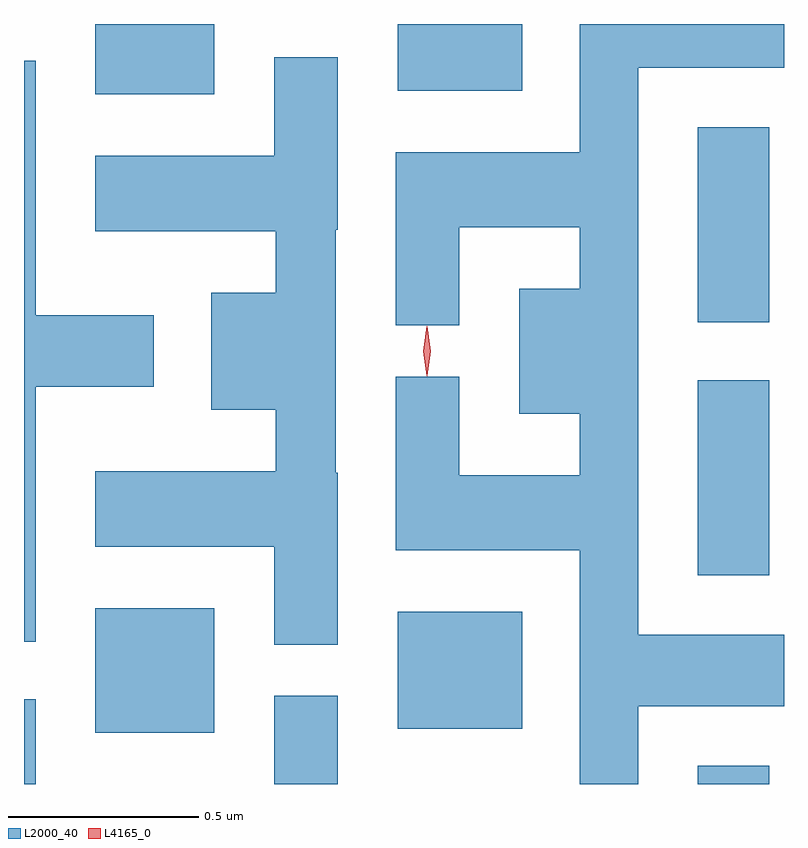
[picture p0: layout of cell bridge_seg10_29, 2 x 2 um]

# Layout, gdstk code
import gdstk
lib = gdstk.Library(unit=1e-6, precision=1e-09)
def R(c, l, rs):  # rectangles x0, y0, x1, y1
    for r in rs: c.add(gdstk.rectangle(r[:2], r[2:], *l))
def P(c, l, *ps):  # polygons
    for p in ps: c.add(gdstk.Polygon(p, *l))
L2000_40 = (2000, 40)
L4165_0 = (4165, 0)

bridge_seg10_29 = lib.new_cell('bridge_seg10_29')
R(bridge_seg10_29, L2000_40, [(1786.603,2176.431,1786.634,2176.654), (1787.261,2176.431,1787.429,2176.663), (1788.376,2176.431,1788.564,2176.479), (1786.791,2176.566,1787.104,2176.894), (1787.586,2176.576,1787.914,2176.884), (1788.376,2176.981,1788.564,2177.494), (1788.376,2177.646,1788.564,2178.159), (1786.791,2178.246,1787.104,2178.431), (1787.586,2178.256,1787.914,2178.431)])
P(bridge_seg10_29, L2000_40, [(1788.219,2176.636),(1788.603,2176.636),(1788.603,2176.824),(1788.219,2176.824),(1788.219,2178.316),(1788.603,2178.316),(1788.603,2178.431),(1788.066,2178.431),(1788.066,2178.094),(1787.581,2178.094),(1787.581,2177.638),(1787.749,2177.638),(1787.749,2177.896),(1788.066,2177.896),(1788.066,2177.734),(1787.906,2177.734),(1787.906,2177.406),(1788.066,2177.406),(1788.066,2177.244),(1787.749,2177.244),(1787.749,2177.503),(1787.581,2177.503),(1787.581,2177.046),(1788.066,2177.046),(1788.066,2176.431),(1788.219,2176.431)],
  [(1787.429,2177.25),(1787.424,2177.25),(1787.424,2177.89),(1787.429,2177.89),(1787.429,2178.343),(1787.261,2178.343),(1787.261,2178.084),(1786.791,2178.084),(1786.791,2177.886),(1787.266,2177.886),(1787.266,2177.724),(1787.096,2177.724),(1787.096,2177.416),(1787.266,2177.416),(1787.266,2177.254),(1786.791,2177.254),(1786.791,2177.056),(1787.261,2177.056),(1787.261,2176.798),(1787.429,2176.798)],
  [(1786.634,2177.476),(1786.944,2177.476),(1786.944,2177.664),(1786.634,2177.664),(1786.634,2178.334),(1786.603,2178.334),(1786.603,2176.806),(1786.634,2176.806)])
P(bridge_seg10_29, L4165_0, [(1787.664,2177.504),(1787.663,2177.505),(1787.654,2177.57),(1787.663,2177.635),(1787.664,2177.636),(1787.664,2177.635),(1787.674,2177.57),(1787.664,2177.505)])

lib.write_gds('bridge_seg10_29.gds')
